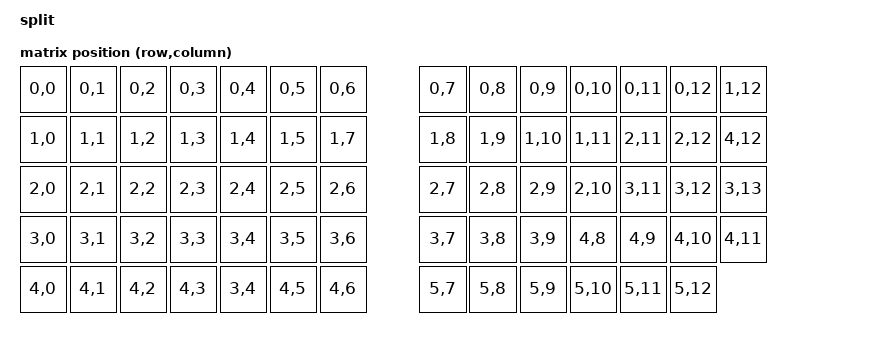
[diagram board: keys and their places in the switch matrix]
/*
 * Copyright (c) 2020 The ZMK Contributors
 *
 * SPDX-License-Identifier: MIT
 */

/dts-v1/;
#include <nordic/nrf52833_qiaa.dtsi>
#include <dt-bindings/zmk/matrix_transform.h>

/ {
	model = "split";
	compatible = "hidergo,split";

	chosen {
		zephyr,code-partition = &code_partition;
		zephyr,sram = &sram0;
		zephyr,flash = &flash0;
		zephyr,console = &cdc_acm_uart0;
		zmk,matrix_transform = &default_transform;
		zmk,kscan = &kscan0;
	};
	
	  default_transform: keymap_transform_0 {
        compatible = "zmk,matrix-transform";
        columns = <13>;
        rows = <5>;
        map = <
            RC(0,0)    RC(0,1)        RC(0,2)    RC(0,3)   RC(0,4) RC(0,5) RC(0,6)                  RC(0,7) RC(0,8) RC(0,9)    RC(0,10)      RC(0,11)    RC(0,12)     RC(1,12)    
            RC(1,0)    RC(1,1)        RC(1,2)    RC(1,3)   RC(1,4) RC(1,5)                          RC(1,7) RC(1,8) RC(1,9)    RC(1,10)      RC(1,11)    RC(2,11)     RC(2,12)     RC(4,12) 
            RC(2,0)    RC(2,1)        RC(2,2)    RC(2,3)   RC(2,4) RC(2,5) RC(2,6)                  RC(2,7) RC(2,8) RC(2,9)    RC(2,10)      RC(3,11)    RC(3,12)     RC(3,13)
            RC(3,0)    RC(3,1)        RC(3,2)    RC(3,3)   RC(3,4) RC(3,5) RC(3,6)         RC(3,7)  RC(3,8) RC(3,9) RC(4,8)    RC(4,9)       RC(4,10)    RC(4,11)    
            RC(4,0)    RC(4,1)        RC(4,2)    RC(4,3)   RC(3,4) RC(4,5) RC(4,6)                  RC(5,7) RC(5,8) RC(5,9)    RC(5,10)      RC(5,11)    RC(5,12)                                                       
        >;
    };
};

&adc {
	status = "okay";
};

&gpio0 {
	status = "okay";
};

&gpio1 {
	status = "okay";
};
/*
&i2c0 {
	compatible = "nordic,nrf-twi";
	sda-pin = <17>;
	scl-pin = <20>;
}
*/

&usbd {
	status = "okay";
	cdc_acm_uart0: cdc_acm_uart0 {
		compatible = "zephyr,cdc-acm-uart";
		label = "CDC_ACM_0";
	};
};


&flash0 {
	/*
	 * For more information, see:
	 * http://docs.zephyrproject.org/latest/devices/dts/flash_partitions.html
	 */
	partitions {
		compatible = "fixed-partitions";
		#address-cells = <1>;
		#size-cells = <1>;

		sd_partition: partition@0 {
			label = "softdevice";
			reg = <0x00000000 0x00026000>;
		};
		code_partition: partition@26000 {
			label = "code_partition";
			reg = <0x00026000 0x0006c000>;
		};

		/*
		 * The flash starting at 0x0006c000 and ending at
		 * 0x00073fff is reserved for use by the application.
		 */

		/*
		 * Storage partition will be used by FCB/LittleFS/NVS
		 * if enabled.
		 */
		storage_partition: partition@6c000 {
			label = "storage";
			reg = <0x0006c000 0x00008000>;
		};

		boot_partition: partition@74000 {
			label = "adafruit_boot";
			reg = <0x00074000 0x0000c000>;
		};
	};
};
